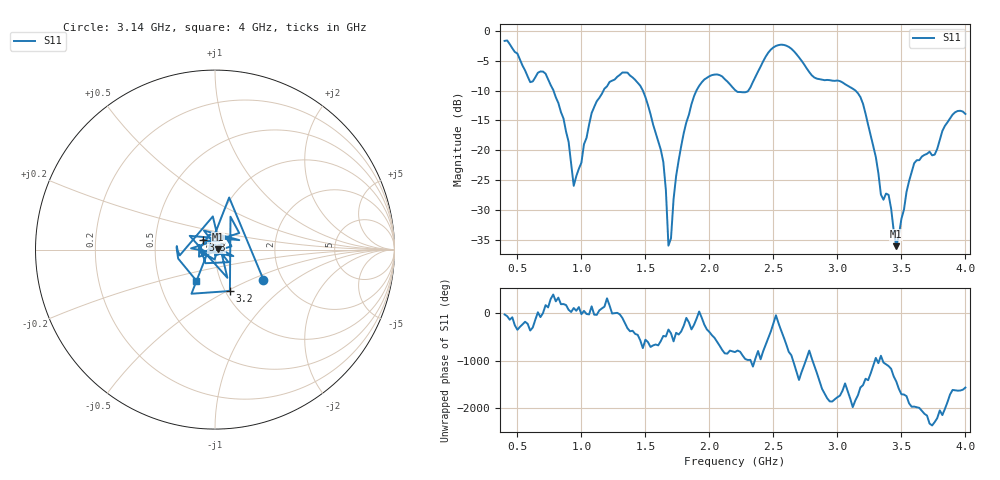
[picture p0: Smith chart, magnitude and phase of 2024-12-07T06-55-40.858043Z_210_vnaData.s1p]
!Created with skrf (http://scikit-rf.org).
# Hz S RI R 50.0
!freq ReS11 ImS11
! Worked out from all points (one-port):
!   181 points, 400 MHz to 4 GHz, reference 50 ohm
!   lowest |S11| = -36.0 dB at 3.46 GHz (marker M1), VSWR 1.03, Z = 51.6 + j0.181 ohm
!   |S11| at or under -10 dB: 781.7 MHz to 1.173 GHz (390.9 MHz wide, 40 % of centre); 1.48 GHz to 1.899 GHz (418.8 MHz wide, 24.8 % of centre); 3.141 GHz to end of sweep (the widest 3 of 4)
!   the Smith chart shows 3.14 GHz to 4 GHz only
!   S11 on the Smith chart (normalised r, x): 3.14 GHz: 1.60, -0.59; 3.2 GHz: 1.05, -0.52; 3.3 GHz: 0.87, +0.10; 4 GHz: 0.77, -0.28
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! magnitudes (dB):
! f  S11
! 400 MHz  -1.7
! 600 MHz  -8.6
! 720 MHz  -7.2
! 860 MHz  -14.7
! 940 MHz  -25.9
! 1.08 GHz  -13.8
! 1.3 GHz  -7.4
! 1.46 GHz  -9.2
! 1.62 GHz  -19.9
! 1.66 GHz  -26.6
! 1.68 GHz  -35.9
! 1.7 GHz  -34.7
! 1.76 GHz  -21.6
! 1.94 GHz  -8.6
! 2.2 GHz  -9.9
! 2.3 GHz  -10.1
! 2.5 GHz  -2.8
! 2.66 GHz  -3.4
! 3.1 GHz  -9.4
! 3.14 GHz  -10.0
! 3.2 GHz  -12.2
! 3.3 GHz  -21.1
! 3.34 GHz  -27.4
! 3.4 GHz  -27.4
! 3.46 GHz  -36.0
! 3.56 GHz  -25.1
! 3.9 GHz  -14.0
! 4 GHz  -13.9
